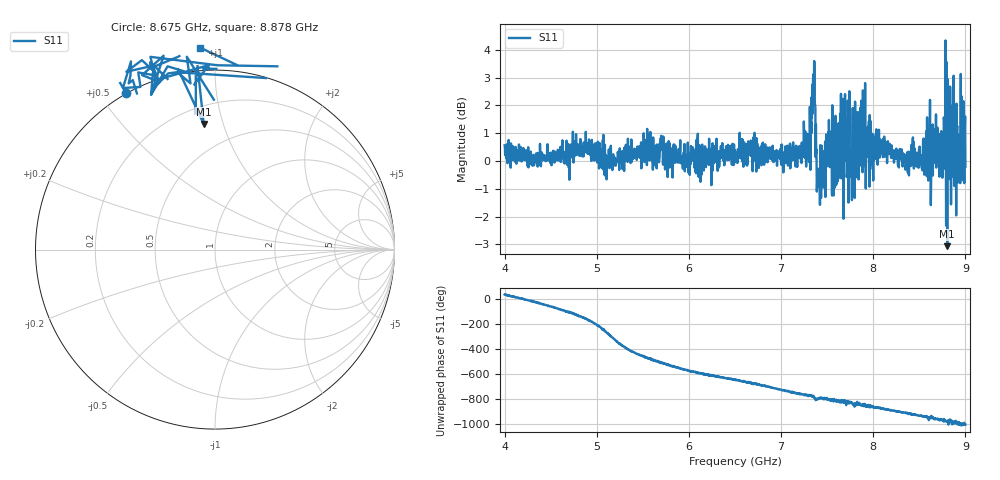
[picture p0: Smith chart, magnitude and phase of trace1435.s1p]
! Created with skrf 1.8.0 (http://scikit-rf.org).
# Hz S RI R 50.0
!freq ReS11 ImS11
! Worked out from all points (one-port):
!   1601 points, 4 GHz to 9 GHz, reference 50 ohm
!   lowest |S11| = -3.1 dB at 8.803 GHz (marker M1), VSWR 5.72, Z = 15.6 + j43.2 ohm
!   |S11| at or under -10 dB: nowhere
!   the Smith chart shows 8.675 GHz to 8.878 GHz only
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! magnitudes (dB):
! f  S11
! 4 GHz  0.6
! 4.625 GHz  0.3
! 4.894 GHz  0.4
! 5.1 GHz  0.2
! 5.25 GHz  0.5
! 5.572 GHz  0.0
! 5.875 GHz  -0.1
! 6.5 GHz  0.2
! 7.125 GHz  0.3
! 7.297 GHz  0.7
! 7.347 GHz  2.9
! 7.359 GHz  3.6
! 7.397 GHz  -0.9
! 7.412 GHz  -0.4
! 7.509 GHz  0.0
! 7.591 GHz  1.6
! 7.669 GHz  1.4
! 7.75 GHz  -0.5
! 7.775 GHz  1.1
! 7.828 GHz  1.3
! 7.891 GHz  0.2
! 8.375 GHz  -0.4
! 8.656 GHz  1.2
! 8.738 GHz  1.1
! 8.803 GHz  -3.1
! 8.919 GHz  0.0
! 8.972 GHz  0.6
! 9 GHz  -0.2
